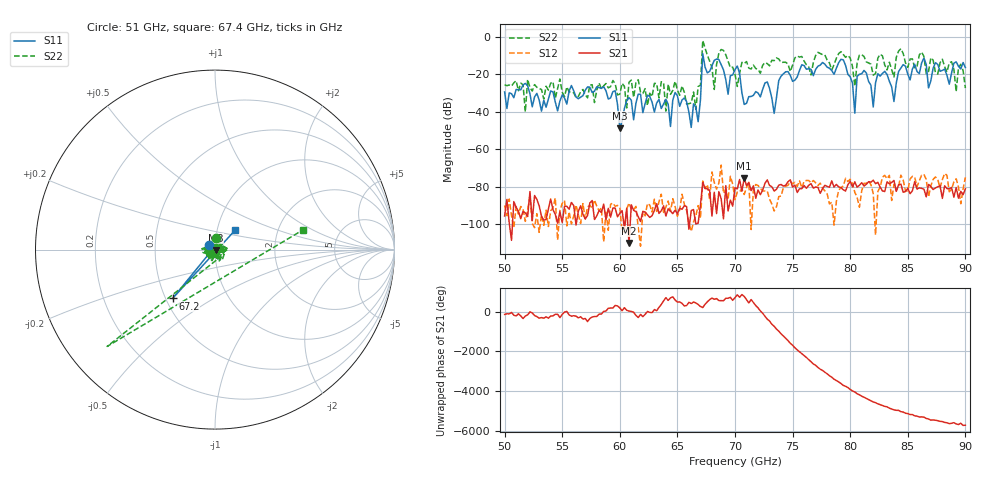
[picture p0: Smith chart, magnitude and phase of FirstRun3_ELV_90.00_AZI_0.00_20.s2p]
! 11/24/2026 3:36:10 PM
! C:\ANRITSUVNA\TEMP\TEMP.S2P
! CHANNEL.1
! TR.MEASUREMENT
! RAW.DATA
# HZ S RI R 50.0
! FREQ.HZ  S11RE  S11IM  S21RE  S21IM  S12RE  S12IM  S22RE  S22IM
!; PortSelection: Port_12
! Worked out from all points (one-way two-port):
!   201 points, 50 GHz to 90 GHz, reference 50 ohm
!   highest |S21| = -75.34 dB at 70.8 GHz (marker M1); lowest = -110.1 dB at 60.8 GHz (marker M2)
!   lowest |S11| = -48.9 dB at 60 GHz (marker M3), VSWR 1.01, Z = 50.3 - j0.155 ohm
!   |S11| at or under -10 dB: start of sweep to 67.19 GHz; 67.23 GHz to end of sweep
!   |S22| runs from -40.0 to -1.9 dB; largest |S21 - S12| = 0.00041
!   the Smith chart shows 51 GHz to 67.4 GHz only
!   S11 on the Smith chart (normalised r, x): 51 GHz: 0.94, +0.05; 67.2 GHz: 0.54, -0.34; 67.4 GHz: 1.22, +0.27
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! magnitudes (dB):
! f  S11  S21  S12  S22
! 50 GHz  -29.4  -95.7  -90.0  -25.6
! 51 GHz  -28.1  -91.1  -90.6  -23.4
! 51.8 GHz  -24.8  -94.0  -98.6  -40.0
! 52 GHz  -26.0  -96.0  -92.4  -22.7
! 56.8 GHz  -31.4  -94.7  -89.1  -28.0
! 59.6 GHz  -28.8  -91.5  -90.5  -25.0
! 60 GHz  -48.9  -94.3  -91.4  -30.5
! 60.8 GHz  -32.4  -110.1  -88.7  -24.2
! 63.4 GHz  -33.4  -94.3  -88.1  -32.6
! 66.8 GHz  -45.3  -99.5  -90.1  -26.5
! 67.2 GHz  -8.9  -77.7  -77.0  -1.9
! 67.4 GHz  -16.1  -80.9  -81.0  -5.9
! 68.2 GHz  -12.5  -83.0  -77.8  -28.0
! 68.8 GHz  -14.8  -86.5  -68.5  -6.7
! 70 GHz  -17.4  -80.6  -87.0  -19.9
! 70.8 GHz  -36.0  -75.3  -84.2  -14.2
! 76.8 GHz  -20.7  -80.8  -76.7  -13.6
! 79.4 GHz  -12.2  -81.7  -79.7  -9.4
! 80.4 GHz  -40.7  -77.4  -83.0  -26.2
! 80.6 GHz  -21.1  -80.3  -85.7  -14.0
! 83.4 GHz  -23.7  -78.5  -74.0  -13.5
! 90 GHz  -16.3  -81.1  -75.0  -27.3
